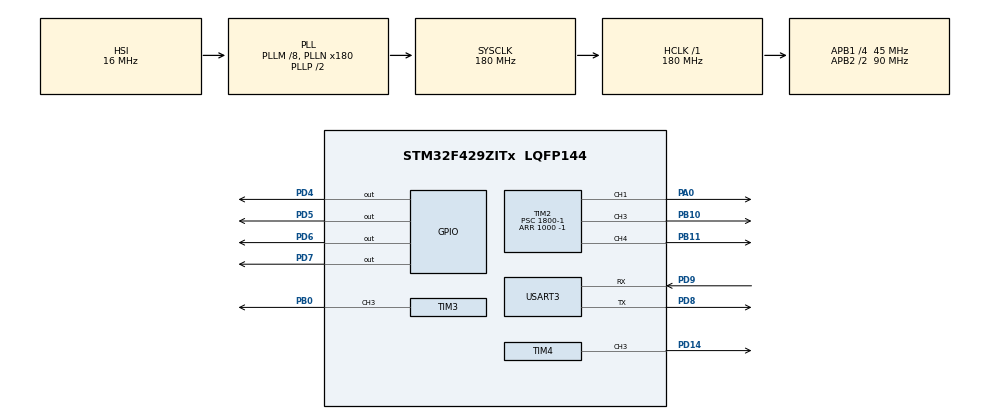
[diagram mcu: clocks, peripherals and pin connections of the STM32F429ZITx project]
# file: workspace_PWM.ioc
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Mcu.Family=STM32F4
Mcu.Name=STM32F429ZITx
Mcu.Package=LQFP144
NVIC.PriorityGroup=NVIC_PRIORITYGROUP_4
PA0/WKUP.Signal=S_TIM2_CH1_ETR
PA13.Mode=Serial_Wire
PA13.Signal=SYS_JTMS-SWDIO
PA14.Mode=Serial_Wire
PA14.Signal=SYS_JTCK-SWCLK
PB0.Signal=S_TIM3_CH3
PB10.Signal=S_TIM2_CH3
PB11.Signal=S_TIM2_CH4
PC14/OSC32_IN.Mode=LSE-External-Oscillator
PC14/OSC32_IN.Signal=RCC_OSC32_IN
PC15/OSC32_OUT.Mode=LSE-External-Oscillator
PC15/OSC32_OUT.Signal=RCC_OSC32_OUT
PD14.Signal=S_TIM4_CH3
PD4.Signal=GPIO_Output
PD5.Signal=GPIO_Output
PD6.Signal=GPIO_Output
PD7.Signal=GPIO_Output
PD8.Mode=Asynchronous
PD8.Signal=USART3_TX
PD9.Mode=Asynchronous
PD9.Signal=USART3_RX
ProjectManager.HeapSize=0x200
ProjectManager.StackSize=0x400
ProjectManager.TargetToolchain=STM32CubeIDE
RCC.48MHZClocksFreq_Value=90000000
RCC.AHBFreq_Value=180000000
RCC.APB1CLKDivider=RCC_HCLK_DIV4
RCC.APB1Freq_Value=45000000
RCC.APB1TimFreq_Value=90000000
RCC.APB2CLKDivider=RCC_HCLK_DIV2
RCC.APB2Freq_Value=90000000
RCC.APB2TimFreq_Value=180000000
RCC.CortexFreq_Value=180000000
RCC.HCLKFreq_Value=180000000
RCC.HSE_VALUE=25000000
RCC.HSI_VALUE=16000000
RCC.PLLM=8
RCC.PLLN=180
RCC.RCC_RTC_Clock_Source=RCC_RTCCLKSOURCE_LSE
RCC.RCC_RTC_Clock_SourceVirtual=RCC_RTCCLKSOURCE_LSE
RCC.SYSCLKFreq_VALUE=180000000
RCC.SYSCLKSource=RCC_SYSCLKSOURCE_PLLCLK
RCC.VCOOutputFreq_Value=360000000
SH.S_TIM2_CH1_ETR.0=TIM2_CH1,PWM Generation1 CH1
SH.S_TIM2_CH3.0=TIM2_CH3,PWM Generation3 CH3
SH.S_TIM2_CH4.0=TIM2_CH4,PWM Generation4 CH4
SH.S_TIM3_CH3.0=TIM3_CH3,PWM Generation3 CH3
SH.S_TIM4_CH3.0=TIM4_CH3,PWM Generation3 CH3
TIM2.AutoReloadPreload=TIM_AUTORELOAD_PRELOAD_ENABLE
TIM2.Channel-PWM\ Generation1\ CH1=TIM_CHANNEL_1
TIM2.Channel-PWM\ Generation3\ CH3=TIM_CHANNEL_3
TIM2.Channel-PWM\ Generation4\ CH4=TIM_CHANNEL_4
TIM2.CounterMode=TIM_COUNTERMODE_UP
TIM2.Period=1000 -1
TIM2.Prescaler=1800-1
TIM3.AutoReloadPreload=TIM_AUTORELOAD_PRELOAD_ENABLE
TIM3.Channel-PWM\ Generation3\ CH3=TIM_CHANNEL_3
TIM3.CounterMode=TIM_COUNTERMODE_UP
TIM3.Period=1000-1
TIM3.Prescaler=1800-1
TIM4.AutoReloadPreload=TIM_AUTORELOAD_PRELOAD_ENABLE
TIM4.Channel-PWM\ Generation3\ CH3=TIM_CHANNEL_3
TIM4.Period=1000-1
TIM4.Prescaler=1800-1
USART3.VirtualMode=VM_ASYNC
VP_RTC_VS_RTC_Activate.Mode=RTC_Enabled
VP_TIM2_VS_ClockSourceINT.Mode=Internal
VP_TIM3_VS_ClockSourceINT.Mode=Internal
VP_TIM4_VS_ClockSourceINT.Mode=Internal
board=custom

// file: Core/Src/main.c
/* USER CODE BEGIN Header */
/**
  ******************************************************************************
  * @file           : main.c
  * @brief          : Main program body
  ******************************************************************************
  * @attention
  *
  * Copyright (c) 2022 STMicroelectronics.
  * All rights reserved.
  *
  * This software is licensed under terms that can be found in the LICENSE file
  * in the root directory of this software component.
  * If no LICENSE file comes with this software, it is provided AS-IS.
  *
  ******************************************************************************
  */
/* USER CODE END Header */
#include "main.h"
#include "rtc.h"
#include "tim.h"
#include "usart.h"
#include "gpio.h"

/* USER CODE BEGIN Includes */
#include "string.h"
#include "stdio.h"
#include "stdbool.h"
#include "user.h"
/* USER CODE END Includes */

void SystemClock_Config(void);

/* USER CODE BEGIN 0 */
int __io_putchar(int ch) {
	HAL_UART_Transmit(&huart3, (uint8_t*)ch, 1, 1);
	return ch;
}
/* USER CODE END 0 */

int main(void)
{
  /* USER CODE BEGIN 1 */
  int num;
  int action;
  /* USER CODE END 1 */

  /* MCU Configuration--------------------------------------------------------*/

  /* Reset of all peripherals, Initializes the Flash interface and the Systick. */
  HAL_Init();

  /* Configure the system clock */
  SystemClock_Config();

  /* Initialize all configured peripherals */
  MX_GPIO_Init();
  MX_RTC_Init();
  MX_USART3_UART_Init();
  MX_TIM2_Init();
  MX_TIM3_Init();
  MX_TIM4_Init();
  /* USER CODE BEGIN 2 */
  HAL_TIM_PWM_Start(&htim2, TIM_CHANNEL_1);
  HAL_TIM_PWM_Start(&htim2, TIM_CHANNEL_3);
  HAL_TIM_PWM_Start(&htim2, TIM_CHANNEL_4);
  HAL_TIM_PWM_Start(&htim3, TIM_CHANNEL_3);
  HAL_TIM_PWM_Start(&htim4, TIM_CHANNEL_3);

  num = 5;
  action = 0;

  /* USER CODE END 2 */

  /* Infinite loop */
  while (1)
  {

    /* USER CODE BEGIN 3 */
	  if(MF_PWM_Fingers(num, action) == true)
	  {
		  HAL_UART_Transmit(&huart3, (uint8_t*)"true\r\n", strlen("true\r\n"), 10);
		  HAL_Delay(1000);
	  }
	  else
	  {
		  HAL_UART_Transmit(&huart3, (uint8_t*)"false\r\n", strlen("false\r\n"), 10);
	  }
	  // 엄지의 펴는 기능은 pwm 정지시 풀린다.
	//  action ^= 1;
	 // MF_PWM_Stop();

/*
	  if(MF_PWM_RPS(action) == true)
	  {
		  HAL_UART_Transmit(&huart3, (uint8_t*)"true\r\n", strlen("true\r\n"), 10);
		  HAL_Delay(1000);
	  }
	  else
		  HAL_UART_Transmit(&huart3, (uint8_t*)"false\r\n", strlen("false\r\n"), 10);
*/

/*	  action++;

	  if(action >= 5)
		  action = 0;*/

  }
  /* USER CODE END 3 */
}

void SystemClock_Config(void)
{
  RCC_OscInitTypeDef RCC_OscInitStruct = {0};
  RCC_ClkInitTypeDef RCC_ClkInitStruct = {0};

  /** Configure the main internal regulator output voltage
  */
  __HAL_RCC_PWR_CLK_ENABLE();
  __HAL_PWR_VOLTAGESCALING_CONFIG(PWR_REGULATOR_VOLTAGE_SCALE1);

  /** Initializes the RCC Oscillators according to the specified parameters
  * in the RCC_OscInitTypeDef structure.
  */
  RCC_OscInitStruct.OscillatorType = RCC_OSCILLATORTYPE_HSI|RCC_OSCILLATORTYPE_LSE;
  RCC_OscInitStruct.LSEState = RCC_LSE_ON;
  RCC_OscInitStruct.HSIState = RCC_HSI_ON;
  RCC_OscInitStruct.HSICalibrationValue = RCC_HSICALIBRATION_DEFAULT;
  RCC_OscInitStruct.PLL.PLLState = RCC_PLL_ON;
  RCC_OscInitStruct.PLL.PLLSource = RCC_PLLSOURCE_HSI;
  RCC_OscInitStruct.PLL.PLLM = 8;
  RCC_OscInitStruct.PLL.PLLN = 180;
  RCC_OscInitStruct.PLL.PLLP = RCC_PLLP_DIV2;
  RCC_OscInitStruct.PLL.PLLQ = 4;
  if (HAL_RCC_OscConfig(&RCC_OscInitStruct) != HAL_OK)
  {
    Error_Handler();
  }

  /** Activate the Over-Drive mode
  */
  if (HAL_PWREx_EnableOverDrive() != HAL_OK)
  {
    Error_Handler();
  }

  /** Initializes the CPU, AHB and APB buses clocks
  */
  RCC_ClkInitStruct.ClockType = RCC_CLOCKTYPE_HCLK|RCC_CLOCKTYPE_SYSCLK
                              |RCC_CLOCKTYPE_PCLK1|RCC_CLOCKTYPE_PCLK2;
  RCC_ClkInitStruct.SYSCLKSource = RCC_SYSCLKSOURCE_PLLCLK;
  RCC_ClkInitStruct.AHBCLKDivider = RCC_SYSCLK_DIV1;
  RCC_ClkInitStruct.APB1CLKDivider = RCC_HCLK_DIV4;
  RCC_ClkInitStruct.APB2CLKDivider = RCC_HCLK_DIV2;

  if (HAL_RCC_ClockConfig(&RCC_ClkInitStruct, FLASH_LATENCY_5) != HAL_OK)
  {
    Error_Handler();
  }
}

void Error_Handler(void)
{
  __disable_irq();
  while (1)
  {
  }
}
